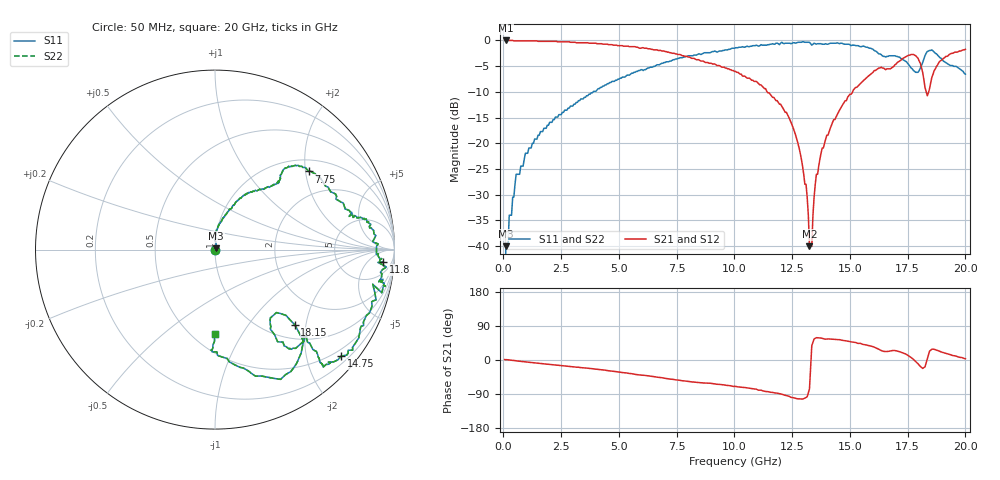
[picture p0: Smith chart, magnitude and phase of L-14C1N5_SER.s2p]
# MHZ S MA R 50
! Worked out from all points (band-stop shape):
!   400 points, 50 MHz to 20 GHz, reference 50 ohm
!   highest |S21| = 0.00 dB at 100 MHz (marker M1); lowest = -40.0 dB at 13.25 GHz (marker M2)
!   |S21| within 3 dB of the highest: start of sweep to 7.81 GHz; 19.24 GHz to end of sweep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
!   lowest |S11| = -40.0 dB at 100 MHz (marker M3), VSWR 1.02, Z = 50.6 + j0.787 ohm
!   |S11| at or under -10 dB: start of sweep to 3.881 GHz
!   |S22| runs from - to -0.3 dB; largest |S21 - S12| = 0
!   S11 on the Smith chart (normalised r, x): 50 MHz: 1.00, +0.00; 7.75 GHz: 1.29, +2.08; 11.8 GHz: 13, -16; 14.75 GHz: 0.35, -2.69; 18.15 GHz: 1.30, -1.73; 20 GHz: 0.64, -0.77
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50  0 27.4  1 1.1  1 1.1  0 27.4
100  0.01 51.0  1 1.0  1 1.0  0.01 51.0
550  0.05 88.2  0.99 -2.3  0.99 -2.3  0.05 88.2
950  0.08 87.9  0.99 -4.9  0.99 -4.9  0.08 87.9
3400  0.27 67.1  0.95 -20.3  0.95 -20.3  0.27 67.1
6700  0.58 49.4  0.8 -45.7  0.8 -45.7  0.58 49.4
7750  0.68 39.8  0.71 -54.8  0.71 -54.8  0.68 39.8
10050  0.85 11.8  0.5 -69.6  0.5 -69.6  0.85 11.8
11800  0.94 -4.2  0.26 -87.2  0.26 -87.2  0.94 -4.2
12800  0.96 -11.2  0.09 -102.6  0.09 -102.6  0.96 -11.2
13100  0.96 -12.7  0.04 -98.9  0.04 -98.9  0.96 -12.7
13250  0.96 -14.5  0.01 -76.3  0.01 -76.3  0.96 -14.5
13350  0.9 -12.4  0.01 38.1  0.01 38.1  0.9 -12.4
13500  0.93 -17.8  0.04 57.2  0.04 57.2  0.93 -17.8
13800  0.92 -23.6  0.09 57.1  0.09 57.1  0.92 -23.6
14750  0.92 -40.2  0.25 51.4  0.25 51.4  0.92 -40.2
16700  0.71 -45.5  0.53 23.3  0.53 23.3  0.71 -45.5
17750  0.51 -53.0  0.73 1.7  0.73 1.7  0.51 -53.0
18150  0.61 -43.3  0.49 -22.2  0.49 -22.2  0.61 -43.3
18350  0.78 -54.3  0.29 3.3  0.29 3.3  0.78 -54.3
18650  0.77 -67.5  0.51 28.4  0.51 28.4  0.77 -67.5
20000  0.47 -90.0  0.82 3.5  0.82 3.5  0.47 -90.0
